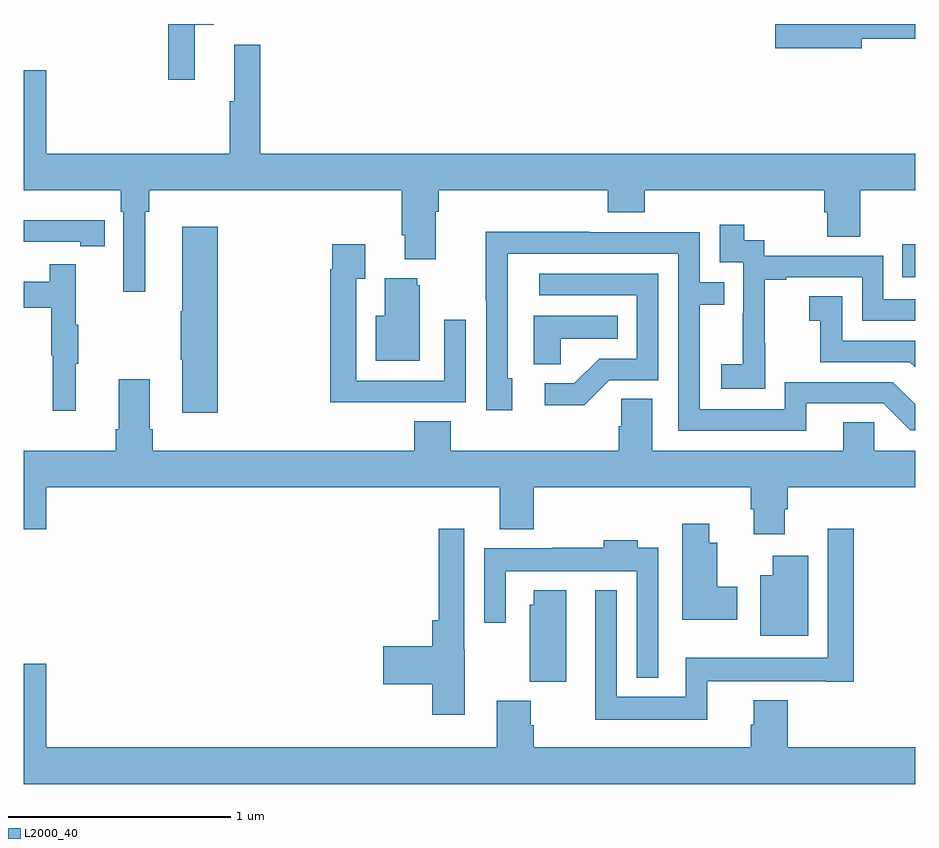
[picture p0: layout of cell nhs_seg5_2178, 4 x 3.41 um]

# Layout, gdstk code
import gdstk
lib = gdstk.Library(unit=1e-6, precision=1e-09)
def R(c, l, rs):  # rectangles x0, y0, x1, y1
    for r in rs: c.add(gdstk.rectangle(r[:2], r[2:], *l))
def P(c, l, *ps):  # polygons
    for p in ps: c.add(gdstk.Polygon(p, *l))
L2000_40 = (2000, 40)

nhs_seg5_2178 = lib.new_cell('nhs_seg5_2178')
R(nhs_seg5_2178, L2000_40, [(240.943,897.663,241,897.811)])
P(nhs_seg5_2178, L2000_40, [(237.767,898.796),(237.853,898.796),(237.853,898.799),(237.649,898.799),(237.649,898.548),(237.767,898.548)],
  [(240.76,898.732),(241,898.732),(241,898.799),(240.372,898.799),(240.372,898.69),(240.76,898.69)],
  [(237.544,897.956),(237.563,897.956),(237.563,898.052),(238.697,898.052),(238.697,897.85),(238.709,897.85),(238.709,897.743),(238.849,897.743),(238.849,897.956),(238.862,897.956),(238.862,898.052),(239.621,898.052),(239.621,897.953),(239.786,897.953),(239.786,898.052),(240.593,898.052),(240.593,897.954),(240.605,897.954),(240.605,897.844),(240.753,897.844),(240.753,898.052),(241,898.052),(241,898.216),(238.061,898.216),(238.061,898.705),(237.944,898.705),(237.944,898.452),(237.925,898.452),(237.925,898.216),(237.1,898.216),(237.1,898.591),(237,898.591),(237,898.052),(237.434,898.052),(237.434,897.956),(237.447,897.956),(237.447,897.597),(237.544,897.597)],
  [(237.362,897.918),(237.254,897.918),(237.254,897.919),(237,897.919),(237,897.822),(237.254,897.822),(237.254,897.802),(237.362,897.802)],
  [(240.327,897.367),(240.326,897.367),(240.326,897.651),(240.421,897.651),(240.421,897.663),(240.762,897.663),(240.762,897.468),(241,897.468),(241,897.564),(240.858,897.564),(240.858,897.759),(240.324,897.759),(240.324,897.828),(240.232,897.828),(240.232,897.898),(240.123,897.898),(240.123,897.729),(240.228,897.729),(240.228,897.5),(240.227,897.5),(240.227,897.271),(240.129,897.271),(240.129,897.161),(240.327,897.161)],
  [(237.869,897.889),(237.71,897.889),(237.71,897.509),(237.703,897.509),(237.703,897.292),(237.71,897.292),(237.71,897.054),(237.869,897.054)],
  [(240.511,897.096),(240.858,897.096),(240.978,896.976),(241,896.976),(241,897.092),(240.9,897.192),(240.414,897.192),(240.414,897.069),(240.033,897.069),(240.033,897.538),(240.143,897.538),(240.143,897.639),(240.033,897.639),(240.033,897.864),(239.537,897.864),(239.537,897.866),(239.074,897.866),(239.074,897.559),(239.076,897.559),(239.076,897.066),(239.191,897.066),(239.191,897.21),(239.172,897.21),(239.172,897.768),(239.937,897.768),(239.937,896.973),(240.511,896.973)],
  [(238.667,897.102),(238.983,897.102),(238.983,897.472),(238.887,897.472),(238.887,897.198),(238.491,897.198),(238.491,897.655),(238.531,897.655),(238.531,897.811),(238.383,897.811),(238.383,897.698),(238.375,897.698),(238.375,897.101),(238.667,897.101)],
  [(237.233,897.275),(237.244,897.275),(237.244,897.449),(237.233,897.449),(237.233,897.721),(237.115,897.721),(237.115,897.642),(237,897.642),(237,897.526),(237.123,897.526),(237.123,897.312),(237.13,897.312),(237.13,897.063),(237.233,897.063)],
  [(239.628,897.201),(239.847,897.201),(239.847,897.678),(239.313,897.678),(239.313,897.582),(239.751,897.582),(239.751,897.297),(239.582,897.297),(239.471,897.186),(239.337,897.186),(239.337,897.089),(239.515,897.089)],
  [(238.777,897.627),(238.766,897.627),(238.766,897.658),(238.619,897.658),(238.619,897.49),(238.58,897.49),(238.58,897.287),(238.777,897.287)],
  [(241,897.378),(240.672,897.378),(240.672,897.577),(240.525,897.577),(240.525,897.467),(240.574,897.467),(240.574,897.282),(240.977,897.282),(241,897.259)],
  [(239.409,897.386),(239.666,897.386),(239.666,897.49),(239.288,897.49),(239.288,897.271),(239.409,897.271)],
  [(240.415,896.622),(240.428,896.622),(240.428,896.72),(241,896.72),(241,896.884),(240.816,896.884),(240.816,897.011),(240.677,897.011),(240.677,896.884),(239.821,896.884),(239.821,897.116),(239.682,897.116),(239.682,896.993),(239.669,896.993),(239.669,896.884),(238.916,896.884),(238.916,897.017),(238.751,897.017),(238.751,896.884),(237.578,896.884),(237.578,896.98),(237.565,896.98),(237.565,897.205),(237.425,897.205),(237.425,896.98),(237.413,896.98),(237.413,896.884),(237,896.884),(237,896.532),(237.1,896.532),(237.1,896.72),(239.135,896.72),(239.135,896.531),(239.288,896.531),(239.288,896.72),(240.263,896.72),(240.263,896.622),(240.275,896.622),(240.275,896.508),(240.415,896.508)],
  [(240.202,896.274),(240.112,896.274),(240.112,896.47),(240.076,896.47),(240.076,896.557),(239.954,896.557),(239.954,896.126),(240.202,896.126)],
  [(240.068,895.85),(240.602,895.85),(240.602,895.848),(240.725,895.848),(240.725,896.533),(240.609,896.533),(240.609,895.954),(239.97,895.954),(239.97,895.78),(239.661,895.78),(239.661,896.257),(239.564,896.257),(239.564,895.676),(240.068,895.676)],
  [(238.978,895.989),(238.977,895.989),(238.977,896.533),(238.861,896.533),(238.861,896.122),(238.832,896.122),(238.832,896.006),(238.614,896.006),(238.614,895.835),(238.832,895.835),(238.832,895.698),(238.978,895.698)],
  [(239.847,896.449),(239.755,896.449),(239.755,896.482),(239.603,896.482),(239.603,896.449),(239.371,896.449),(239.371,896.446),(239.067,896.446),(239.067,896.112),(239.163,896.112),(239.163,896.342),(239.751,896.342),(239.751,895.865),(239.847,895.865)],
  [(240.52,896.413),(240.362,896.413),(240.362,896.326),(240.305,896.326),(240.305,896.054),(240.52,896.054)],
  [(239.434,896.257),(239.288,896.257),(239.288,896.193),(239.27,896.193),(239.27,895.846),(239.434,895.846)],
  [(241,895.552),(240.428,895.552),(240.428,895.765),(240.275,895.765),(240.275,895.653),(240.263,895.653),(240.263,895.552),(239.288,895.552),(239.288,895.652),(239.275,895.652),(239.275,895.761),(239.123,895.761),(239.123,895.552),(237.1,895.552),(237.1,895.927),(237,895.927),(237,895.388),(241,895.388)])

lib.write_gds('nhs_seg5_2178.gds')
